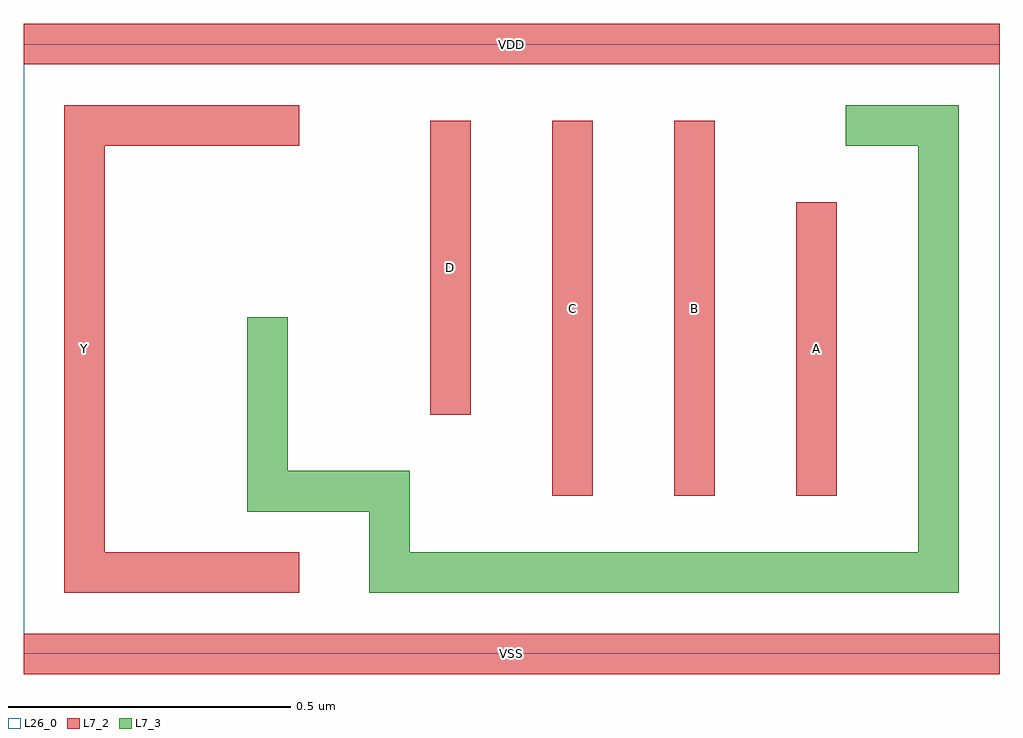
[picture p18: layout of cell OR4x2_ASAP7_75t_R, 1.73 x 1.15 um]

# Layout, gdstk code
import gdstk
lib = gdstk.Library(unit=1e-6, precision=1e-09)
def R(c, l, rs):  # rectangles x0, y0, x1, y1
    for r in rs: c.add(gdstk.rectangle(r[:2], r[2:], *l))
L7_2 = (7, 2)
L7_3 = (7, 3)
L26_0 = (26, 0)

or4x2_asap7_75t_r = lib.new_cell('OR4x2_ASAP7_75t_R')
R(or4x2_asap7_75t_r, L7_2, [(0,-0.036,1.728,0.036), (0.072,0.108,0.488,0.18), (0.072,0.108,0.144,0.972), (0.936,0.28,1.008,0.944), (1.152,0.28,1.224,0.944), (1.368,0.28,1.44,0.8), (0.72,0.424,0.792,0.944), (0.072,0.9,0.488,0.972), (0,1.044,1.728,1.116)])
R(or4x2_asap7_75t_r, L7_3, [(0.612,0.108,0.684,0.324), (0.612,0.108,1.656,0.18), (1.584,0.108,1.656,0.972), (0.396,0.252,0.468,0.596), (0.396,0.252,0.684,0.324), (1.456,0.9,1.656,0.972)])
R(or4x2_asap7_75t_r, L26_0, [(0,0,1.728,1.08)])
or4x2_asap7_75t_r.add(gdstk.Label('A', (1.404,0.54), layer=7, texttype=1))
or4x2_asap7_75t_r.add(gdstk.Label('B', (1.188,0.612), layer=7, texttype=1))
or4x2_asap7_75t_r.add(gdstk.Label('C', (0.972,0.612), layer=7, texttype=1))
or4x2_asap7_75t_r.add(gdstk.Label('D', (0.756,0.684), layer=7, texttype=1))
or4x2_asap7_75t_r.add(gdstk.Label('VDD', (0.864,1.08), layer=7, texttype=1))
or4x2_asap7_75t_r.add(gdstk.Label('VSS', (0.864,0), layer=7, texttype=1))
or4x2_asap7_75t_r.add(gdstk.Label('Y', (0.108,0.54), layer=7, texttype=1))

lib.write_gds('OR4x2_ASAP7_75t_R.gds')
